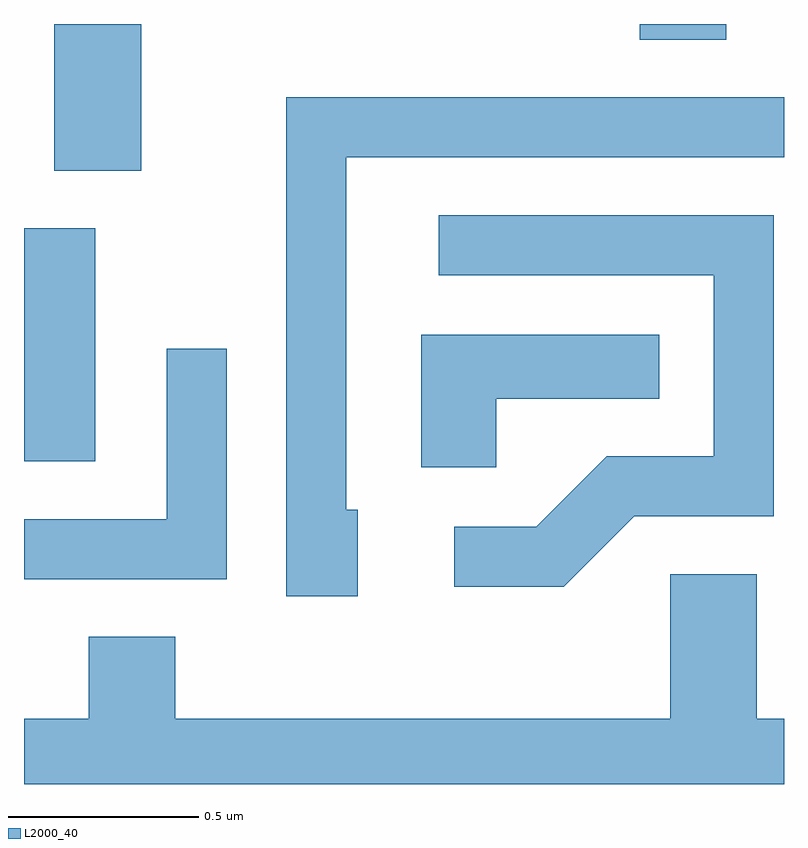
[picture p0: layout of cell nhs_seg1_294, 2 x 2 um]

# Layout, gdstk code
import gdstk
lib = gdstk.Library(unit=1e-6, precision=1e-09)
def R(c, l, rs):  # rectangles x0, y0, x1, y1
    for r in rs: c.add(gdstk.rectangle(r[:2], r[2:], *l))
def P(c, l, *ps):  # polygons
    for p in ps: c.add(gdstk.Polygon(p, *l))
L2000_40 = (2000, 40)

nhs_seg1_294 = lib.new_cell('nhs_seg1_294')
R(nhs_seg1_294, L2000_40, [(187.611,860.561,187.799,861.174), (187.691,861.326,187.919,861.712), (189.231,861.671,189.459,861.712)])
P(nhs_seg1_294, L2000_40, [(188.489,860.434),(188.459,860.434),(188.459,861.361),(189.611,861.361),(189.611,861.519),(188.301,861.519),(188.301,860.206),(188.489,860.206)],
  [(189.217,860.416),(189.584,860.416),(189.584,861.209),(188.703,861.209),(188.703,861.051),(189.426,861.051),(189.426,860.574),(189.144,860.574),(188.959,860.389),(188.743,860.389),(188.743,860.231),(189.032,860.231)],
  [(188.854,860.726),(189.283,860.726),(189.283,860.894),(188.656,860.894),(188.656,860.546),(188.854,860.546)],
  [(188.144,860.858),(187.986,860.858),(187.986,860.409),(187.611,860.409),(187.611,860.251),(188.144,860.251)],
  [(189.611,859.884),(189.539,859.884),(189.539,860.264),(189.311,860.264),(189.311,859.884),(188.009,859.884),(188.009,860.099),(187.781,860.099),(187.781,859.884),(187.611,859.884),(187.611,859.712),(189.611,859.712)])

lib.write_gds('nhs_seg1_294.gds')
